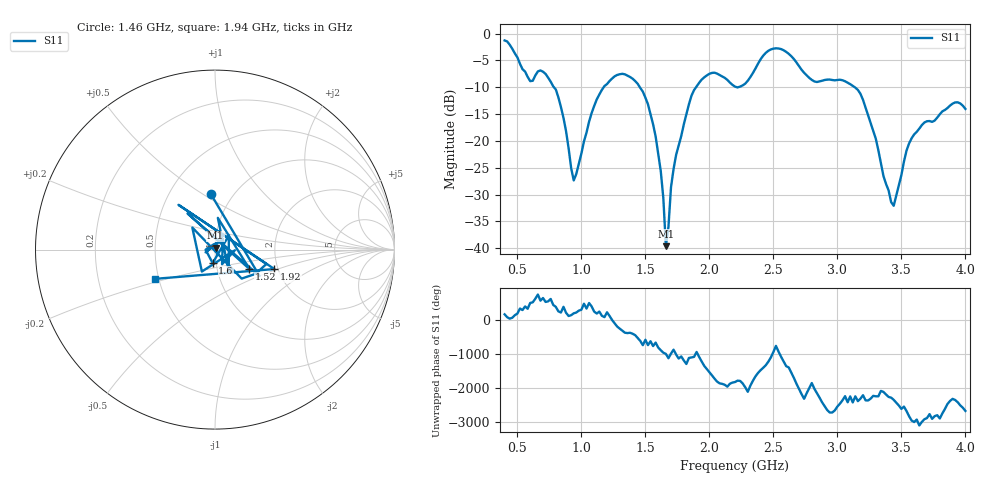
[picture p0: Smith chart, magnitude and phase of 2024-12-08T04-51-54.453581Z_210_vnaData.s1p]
!Created with skrf (http://scikit-rf.org).
# Hz S RI R 50.0
!freq ReS11 ImS11
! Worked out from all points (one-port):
!   181 points, 400 MHz to 4 GHz, reference 50 ohm
!   lowest |S11| = -39.6 dB at 1.66 GHz (marker M1), VSWR 1.02, Z = 50.3 + j1.01 ohm
!   |S11| at or under -10 dB: 785.2 MHz to 1.174 GHz (388.6 MHz wide, 39.7 % of centre); 1.457 GHz to 1.896 GHz (438.9 MHz wide, 26.2 % of centre); 3.135 GHz to end of sweep (the widest 3 of 4)
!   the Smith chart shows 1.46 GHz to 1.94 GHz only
!   S11 on the Smith chart (normalised r, x): 1.46 GHz: 0.79, +0.54; 1.52 GHz: 1.43, -0.32; 1.6 GHz: 0.96, -0.15; 1.92 GHz: 1.91, -0.47; 1.94 GHz: 0.48, -0.18
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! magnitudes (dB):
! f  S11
! 400 MHz  -1.3
! 600 MHz  -8.9
! 720 MHz  -7.5
! 860 MHz  -15.7
! 940 MHz  -27.4
! 1.12 GHz  -12.3
! 1.3 GHz  -7.6
! 1.46 GHz  -10.1
! 1.52 GHz  -13.2
! 1.6 GHz  -22.4
! 1.64 GHz  -30.6
! 1.66 GHz  -39.6
! 1.68 GHz  -36.1
! 1.7 GHz  -28.6
! 1.76 GHz  -20.9
! 1.86 GHz  -11.6
! 1.92 GHz  -9.2
! 1.94 GHz  -8.6
! 2.2 GHz  -9.9
! 2.48 GHz  -3.0
! 2.66 GHz  -4.7
! 2.82 GHz  -8.9
! 3.1 GHz  -9.4
! 3.2 GHz  -12.3
! 3.44 GHz  -32.1
! 3.56 GHz  -20.5
! 3.9 GHz  -13.1
! 4 GHz  -14.0
